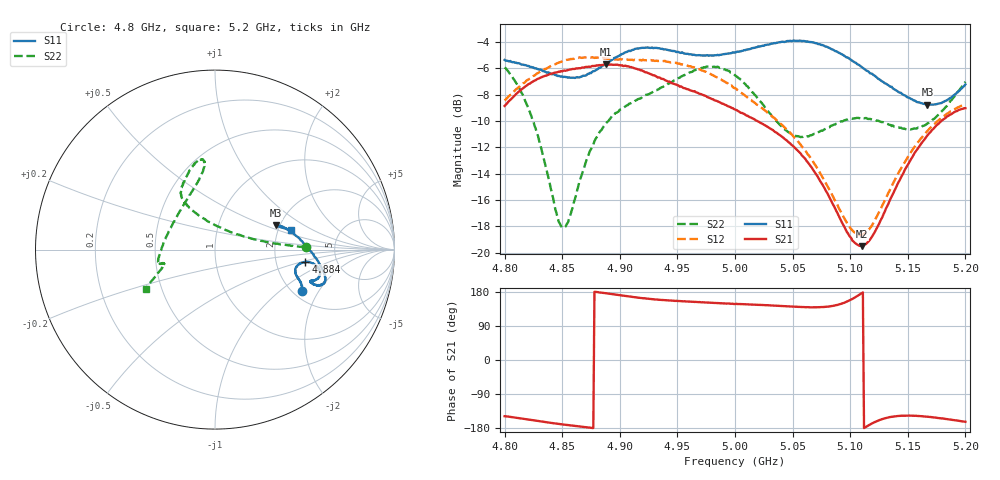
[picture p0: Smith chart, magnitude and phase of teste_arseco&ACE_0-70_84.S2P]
! Network Analyzer HP8722D
! Hewlett-Packard
! Data name: Linha & Wilkinson
! Saver's name: Rodrigo Anjos
! Comments: Teste da utilização de aquisição
! continua pelo VNA HP8722D
! Time and date: 8/5/2025 13:27
!  Frequency  S11  S21  S12  S22
# HZ  S  MA R 50
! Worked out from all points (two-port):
!   401 points, 4.8 GHz to 5.2 GHz, reference 50 ohm
!   highest |S21| = -5.71 dB at 4.888 GHz (marker M1); lowest = -19.5 dB at 5.11 GHz (marker M2)
!   |S21| within 3 dB of the highest: 4.802 GHz to 4.99 GHz (188.4 MHz wide, 3.85 % of centre)
!   lowest |S11| = -8.8 dB at 5.167 GHz (marker M3), VSWR 2.15, Z = 95 + j29.8 ohm
!   |S11| at or under -10 dB: nowhere
!   |S22| runs from -18.1 to -5.9 dB; largest |S21 - S12| = 1.1
!   S11 on the Smith chart (normalised r, x): 4.8 GHz: 2.23, -1.46; 4.884 GHz: 2.96, -0.55; 5.2 GHz: 2.33, +0.63
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4.8e9  0.5392 -25.6  0.3606 -148.4  0.3784 11.1  0.5045 1.5
4.814e9  0.5198 -22.2  0.4145 -154.0  0.4318 9.2  0.4099 3.3
4.824e9  0.5056 -20.2  0.4447 -158.7  0.464 7.6  0.3214 6.4
4.849e9  0.4659 -16.2  0.4892 -169.5  0.5302 3.7  0.126 56.6
4.855e9  0.4621 -14.5  0.4931 -171.9  0.5406 2.8  0.1301 83.9
4.867e9  0.4663 -11.2  0.5041 -176.1  0.549 1.1  0.1977 113.0
4.884e9  0.5086 -7.7  0.5157 177.8  0.5462 -0.2  0.292 122.5
4.888e9  0.5224 -7.6  0.5184 176.1  0.5466 -0.3  0.3092 122.8
4.913e9  0.5936 -10.9  0.5012 165.6  0.5408 0.1  0.3763 120.0
4.934e9  0.5974 -15.5  0.4627 159.0  0.535 -0.9  0.4181 114.0
4.975e9  0.5615 -18.3  0.3927 151.8  0.4855 -4.7  0.5082 100.1
5e9  0.5764 -19.2  0.3498 147.8  0.4214 -4.7  0.4714 97.3
5.018e9  0.602 -19.2  0.3176 146.0  0.3677 -2.2  0.3944 103.8
5.045e9  0.6358 -17.3  0.2665 141.8  0.2931 3.6  0.2899 132.8
5.067e9  0.6289 -13.3  0.2091 139.1  0.2245 9.7  0.2797 164.5
5.099e9  0.5459 -2.4  0.1162 156.6  0.1263 38.0  0.3215 -169.8
5.11e9  0.5069 2.6  0.1057 176.5  0.1167 60.0  0.3255 -167.0
5.119e9  0.4778 7.0  0.1151 -167.3  0.127 77.5  0.3206 -165.7
5.134e9  0.4292 14.4  0.1566 -150.8  0.1712 94.8  0.3057 -165.3
5.167e9  0.3647 21.9  0.2784 -149.8  0.2892 103.0  0.3093 -161.4
5.183e9  0.3772 19.9  0.3253 -155.6  0.3343 103.3  0.3576 -156.6
5.2e9  0.4353 14.6  0.3537 -163.1  0.3664 103.6  0.4458 -150.2
